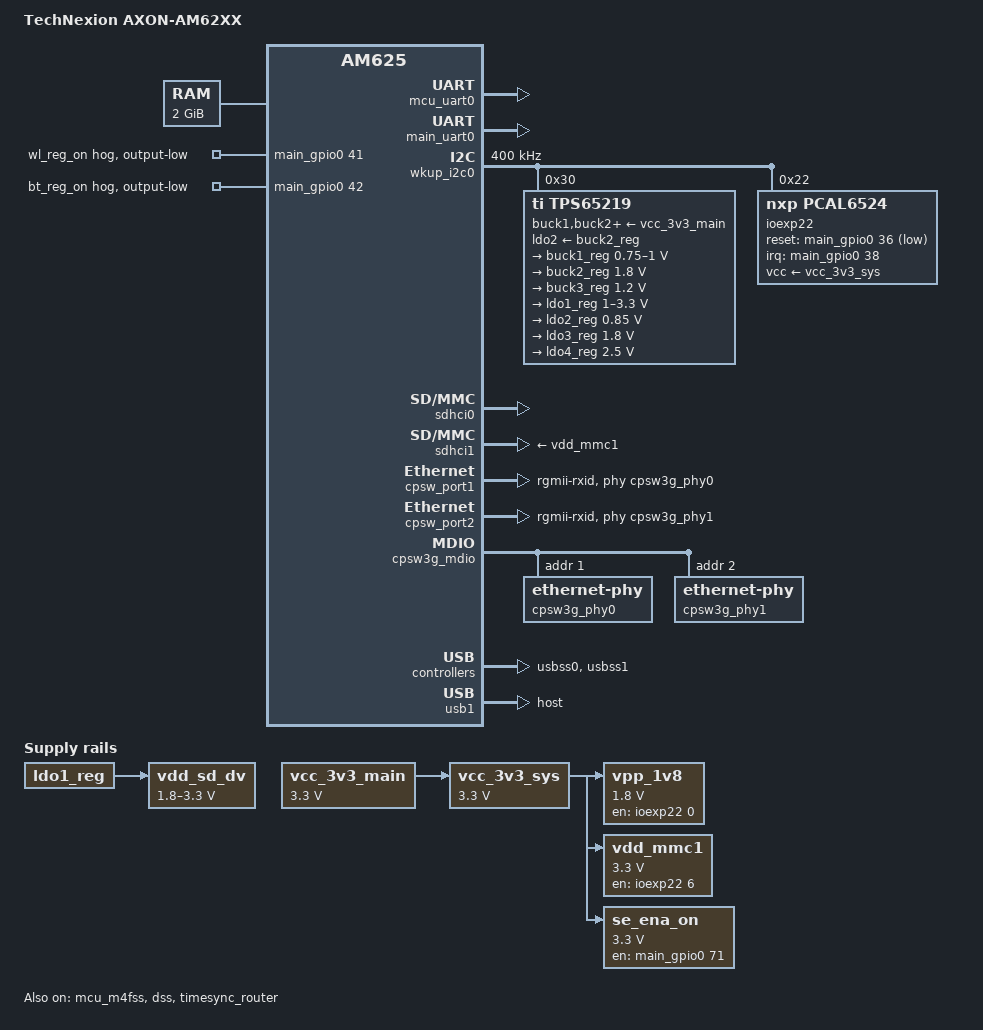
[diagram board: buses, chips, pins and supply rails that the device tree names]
// SPDX-License-Identifier: GPL-2.0
/*
 * Copyright (C) 2024 TechNexion Ltd.
 *
 */

/dts-v1/;

#include <dt-bindings/leds/common.h>
#include <dt-bindings/gpio/gpio.h>
#include <dt-bindings/net/ti-dp83867.h>
#include "k3-am625.dtsi"

/ {
	compatible = "technexion,am625-axon", "ti,am625";
	model = "TechNexion AXON-AM62XX";

	aliases {
		serial2 = &main_uart0;
		mmc0 = &sdhci0;
		mmc1 = &sdhci1;
		mmc2 = &sdhci2;
		spi0 = &ospi0;
		ethernet0 = &cpsw_port1;
		ethernet1 = &cpsw_port2;
		usb0 = &usb0;
		usb1 = &usb1;
	};

	chosen {
		stdout-path = "serial2:115200n8";
	};

	opp-table {
		/* Add 1.4GHz OPP for am625-sk board. Requires VDD_CORE to be at 0.85V */
		opp-1400000000 {
			opp-hz = /bits/ 64 <1400000000>;
			opp-supported-hw = <0x01 0x0004>;
			clock-latency-ns = <6000000>;
		};
	};

	memory@80000000 {
		bootph-pre-ram;
		device_type = "memory";
		/* 2G RAM */
		reg = <0x00000000 0x80000000 0x00000000 0x80000000>;
	};

	reserved-memory {
		#address-cells = <2>;
		#size-cells = <2>;
		ranges;

		ramoops@9c700000 {
			compatible = "ramoops";
			reg = <0x00 0x9c700000 0x00 0x00100000>;
			record-size = <0x8000>;
			console-size = <0x8000>;
			ftrace-size = <0x00>;
			pmsg-size = <0x8000>;
		};

		rtos_ipc_memory_region: ipc-memories@9c800000 {
			compatible = "shared-dma-pool";
			reg = <0x00 0x9c800000 0x00 0x00300000>;
			no-map;
		};

		mcu_m4fss_dma_memory_region: m4f-dma-memory@9cb00000 {
			compatible = "shared-dma-pool";
			reg = <0x00 0x9cb00000 0x00 0x100000>;
			no-map;
		};

		mcu_m4fss_memory_region: m4f-memory@9cc00000 {
			compatible = "shared-dma-pool";
			reg = <0x00 0x9cc00000 0x00 0xe00000>;
			no-map;
		};

		/* global cma region */
		linux,cma {
			compatible = "shared-dma-pool";
			reusable;
			size = <0x00 0x8000000>;
			linux,cma-default;
		};

		secure_tfa_ddr: tfa@9e780000 {
			reg = <0x00 0x9e780000 0x00 0x80000>;
			alignment = <0x1000>;
			no-map;
		};

		secure_ddr: optee@9e800000 {
			reg = <0x00 0x9e800000 0x00 0x01800000>; /* for OP-TEE */
			alignment = <0x1000>;
			no-map;
		};

		wkup_r5fss0_core0_dma_memory_region: r5f-dma-memory@9db00000 {
			compatible = "shared-dma-pool";
			reg = <0x00 0x9db00000 0x00 0xc00000>;
			no-map;
		};
	};

	vcc_3v3_main: regulator-0 {
		/* Output of TPS62095 */
		bootph-all;
		compatible = "regulator-fixed";
		regulator-name = "vcc_3v3_main";
		regulator-min-microvolt = <3300000>;
		regulator-max-microvolt = <3300000>;
		regulator-always-on;
		regulator-boot-on;
	};

	vcc_3v3_sys: regulator-1 {
		/* Output of TPS22965 */
		bootph-all;
		compatible = "regulator-fixed";
		regulator-name = "vcc_3v3_sys";
		regulator-min-microvolt = <3300000>;
		regulator-max-microvolt = <3300000>;
		vin-supply = <&vcc_3v3_main>;
		regulator-always-on;
		regulator-boot-on;
	};

	vpp_1v8: regulator-2 {
		/* Output of TLV75518 */
		bootph-all;
		compatible = "regulator-fixed";
		regulator-name = "vpp_1v8";
		regulator-min-microvolt = <1800000>;
		regulator-max-microvolt = <1800000>;
		vin-supply = <&vcc_3v3_sys>;
		regulator-always-on;
		regulator-boot-on;
		enable-active-high;
		gpio = <&ioexp22 0 GPIO_ACTIVE_HIGH>;
	};

	vdd_mmc1: regulator-3 {
		/* Output of MIC94040 */
		bootph-all;
		compatible = "regulator-fixed";
		regulator-name = "vdd_mmc1";
		regulator-min-microvolt = <3300000>;
		regulator-max-microvolt = <3300000>;
		regulator-always-on;
		regulator-boot-on;
		enable-active-high;
		vin-supply = <&vcc_3v3_sys>;
		gpio = <&ioexp22 6 GPIO_ACTIVE_HIGH>;
	};

	vdd_sd_dv: regulator-4 {
		bootph-all;
		compatible = "regulator-gpio";
		regulator-name = "tps65219-LDO1-SEL-SD";
		pinctrl-names = "default";
		pinctrl-0 = <&vdd_sd_dv_pins_default>;
		regulator-min-microvolt = <1800000>;
		regulator-max-microvolt = <3300000>;
		regulator-boot-on;
		vin-supply = <&ldo1_reg>;
		gpios = <&main_gpio0 31 GPIO_ACTIVE_HIGH>;
		states = <1800000 0x0>,
			  <3300000 0x1>;
	};

	se_ena_on: regulator-5 {
		compatible = "regulator-fixed";
		regulator-name = "se_ena_on";
		pinctrl-names = "default";
		pinctrl-0 = <&se_ena_pins_default>;
		regulator-min-microvolt = <3300000>;
		regulator-max-microvolt = <3300000>;
		vin-supply = <&vcc_3v3_sys>;
		enable-active-high;
		gpio = <&main_gpio0 71 GPIO_ACTIVE_HIGH>;
	};
};

&mcu_pmx0 {
	wkup_i2c0_pins_default: wkup-i2c0-default-pins {
		bootph-all;
		pinctrl-single,pins = <
			AM62X_MCU_IOPAD(0x004c, PIN_INPUT, 0) /* (B9) WKUP_I2C0_SCL */
			AM62X_MCU_IOPAD(0x0050, PIN_INPUT, 0) /* (A9) WKUP_I2C0_SDA */
		>;
	};

	mcu_uart0_pins_default: mcu-uart0-default-pins {
		bootph-all;
		pinctrl-single,pins = <
			AM62X_MCU_IOPAD(0x001c, PIN_INPUT, 0) /* (A6) MCU_UART0_CTSn */
			AM62X_MCU_IOPAD(0x0020, PIN_OUTPUT, 0) /* (B6) MCU_UART0_RTSn */
			AM62X_MCU_IOPAD(0x0014, PIN_INPUT, 0) /* (B5) MCU_UART0_RXD */
			AM62X_MCU_IOPAD(0x0018, PIN_OUTPUT, 0) /* (A5) MCU_UART0_TXD */
		>;
	};
};

&main_pmx0 {
	main_uart0_pins_default: main-uart0-default-pins {
		bootph-all;
		pinctrl-single,pins = <
			AM62X_IOPAD(0x01d0, PIN_INPUT, 0) /* (A15) UART0_CTSn */
			AM62X_IOPAD(0x01d4, PIN_OUTPUT, 0) /* (B15) UART0_RTSn */
			AM62X_IOPAD(0x01c8, PIN_INPUT, 0) /* (D14) UART0_RXD */
			AM62X_IOPAD(0x01cc, PIN_OUTPUT, 0) /* (E14) UART0_TXD */
		>;
	};

	main_i2c0_pins_default: main-i2c0-default-pins {
		bootph-all;
		pinctrl-single,pins = <
			AM62X_IOPAD(0x01e0, PIN_INPUT, 0) /* (B16) I2C0_SCL */
			AM62X_IOPAD(0x01e4, PIN_INPUT, 0) /* (A16) I2C0_SDA */
		>;
	};

	main_i2c2_pins_default: main-i2c2-default-pins {
		bootph-all;
		pinctrl-single,pins = <
			AM62X_IOPAD(0x0b0, PIN_INPUT, 1) /* (K22) GPMC0_CSn2.I2C2_SCL */
			AM62X_IOPAD(0x0b4, PIN_INPUT, 1) /* (K24) GPMC0_CSn3.I2C2_SDA */
		>;
	};

	main_mmc0_pins_default: main-mmc0-default-pins {
		bootph-all;
		pinctrl-single,pins = <
			AM62X_IOPAD(0x220, PIN_INPUT, 0) /* (Y3) MMC0_CMD */
			AM62X_IOPAD(0x218, PIN_INPUT, 0) /* (AB1) MMC0_CLK */
			AM62X_IOPAD(0x214, PIN_INPUT, 0) /* (AA2) MMC0_DAT0 */
			AM62X_IOPAD(0x210, PIN_INPUT, 0) /* (AA1) MMC0_DAT1 */
			AM62X_IOPAD(0x20c, PIN_INPUT, 0) /* (AA3) MMC0_DAT2 */
			AM62X_IOPAD(0x208, PIN_INPUT, 0) /* (Y4) MMC0_DAT3 */
			AM62X_IOPAD(0x204, PIN_INPUT, 0) /* (AB2) MMC0_DAT4 */
			AM62X_IOPAD(0x200, PIN_INPUT, 0) /* (AC1) MMC0_DAT5 */
			AM62X_IOPAD(0x1fc, PIN_INPUT, 0) /* (AD2) MMC0_DAT6 */
			AM62X_IOPAD(0x1f8, PIN_INPUT, 0) /* (AC2) MMC0_DAT7 */
		>;
	};

	main_mmc1_pins_default: main-mmc1-default-pins {
		bootph-all;
		pinctrl-single,pins = <
			AM62X_IOPAD(0x23c, PIN_INPUT, 0) /* (A21) MMC1_CMD */
			AM62X_IOPAD(0x234, PIN_INPUT, 0) /* (B22) MMC1_CLK */
			AM62X_IOPAD(0x230, PIN_INPUT, 0) /* (A22) MMC1_DAT0 */
			AM62X_IOPAD(0x22c, PIN_INPUT, 0) /* (B21) MMC1_DAT1 */
			AM62X_IOPAD(0x228, PIN_INPUT, 0) /* (C21) MMC1_DAT2 */
			AM62X_IOPAD(0x224, PIN_INPUT, 0) /* (D22) MMC1_DAT3 */
			AM62X_IOPAD(0x240, PIN_INPUT, 0) /* (D17) MMC1_SDCD */
		>;
	};

	main_mmc2_pins_default: main-mmc2-default-pins {
		bootph-all;
		pinctrl-single,pins = <
			AM62X_IOPAD(0x120, PIN_INPUT, 0) /* (C24) MMC2_CMD */
			AM62X_IOPAD(0x118, PIN_INPUT, 0) /* (D25) MMC2_CLK */
			AM62X_IOPAD(0x114, PIN_INPUT, 0) /* (B24) MMC2_DAT0 */
			AM62X_IOPAD(0x110, PIN_INPUT, 0) /* (C25) MMC2_DAT1 */
			AM62X_IOPAD(0x10c, PIN_INPUT, 0) /* (E23) MMC2_DAT2 */
			AM62X_IOPAD(0x108, PIN_INPUT, 0) /* (D24) MMC2_DAT3 */
			AM62X_IOPAD(0x11c, PIN_INPUT, 0) /* (#N/A) MMC2_CLKB */
		>;
	};

	main_mdio1_pins_default: main-mdio1-default-pins {
		pinctrl-single,pins = <
			AM62X_IOPAD(0x160, PIN_OUTPUT, 0) /* (AD24/V17) MDIO0_MDC */
			AM62X_IOPAD(0x15c, PIN_INPUT, 0) /* (AB22/U16) MDIO0_MDIO */
		>;
	};

	main_rgmii1_pins_default: main-rgmii1-default-pins {
		bootph-all;
		pinctrl-single,pins = <
			AM62X_IOPAD(0x14c, PIN_INPUT, 0) /* (AB17) RGMII1_RD0 */
			AM62X_IOPAD(0x150, PIN_INPUT, 0) /* (AC17) RGMII1_RD1 */
			AM62X_IOPAD(0x154, PIN_INPUT, 0) /* (AB16) RGMII1_RD2 */
			AM62X_IOPAD(0x158, PIN_INPUT, 0) /* (AA15) RGMII1_RD3 */
			AM62X_IOPAD(0x148, PIN_INPUT, 0) /* (AD17) RGMII1_RXC */
			AM62X_IOPAD(0x144, PIN_INPUT, 0) /* (AE17) RGMII1_RX_CTL */
			AM62X_IOPAD(0x134, PIN_OUTPUT, 0) /* (AE20) RGMII1_TD0 */
			AM62X_IOPAD(0x138, PIN_OUTPUT, 0) /* (AD20) RGMII1_TD1 */
			AM62X_IOPAD(0x13c, PIN_OUTPUT, 0) /* (AE18) RGMII1_TD2 */
			AM62X_IOPAD(0x140, PIN_OUTPUT, 0) /* (AD18) RGMII1_TD3 */
			AM62X_IOPAD(0x130, PIN_OUTPUT, 0) /* (AE19) RGMII1_TXC */
			AM62X_IOPAD(0x12c, PIN_OUTPUT, 0) /* (AD19) RGMII1_TX_CTL */
		>;
	};

	main_rgmii2_pins_default: main-rgmii2-default-pins {
		bootph-all;
		pinctrl-single,pins = <
			AM62X_IOPAD(0x184, PIN_INPUT, 0) /* (AE23) RGMII2_RD0 */
			AM62X_IOPAD(0x188, PIN_INPUT, 0) /* (AB20) RGMII2_RD1 */
			AM62X_IOPAD(0x18c, PIN_INPUT, 0) /* (AC21) RGMII2_RD2 */
			AM62X_IOPAD(0x190, PIN_INPUT, 0) /* (AE22) RGMII2_RD3 */
			AM62X_IOPAD(0x180, PIN_INPUT, 0) /* (AD23) RGMII2_RXC */
			AM62X_IOPAD(0x17c, PIN_INPUT, 0) /* (AD22) RGMII2_RX_CTL */
			AM62X_IOPAD(0x16c, PIN_OUTPUT, 0) /* (Y18) RGMII2_TD0 */
			AM62X_IOPAD(0x170, PIN_OUTPUT, 0) /* (AA18) RGMII2_TD1 */
			AM62X_IOPAD(0x174, PIN_OUTPUT, 0) /* (AD21) RGMII2_TD2 */
			AM62X_IOPAD(0x178, PIN_OUTPUT, 0) /* (AC20) RGMII2_TD3 */
			AM62X_IOPAD(0x168, PIN_OUTPUT, 0) /* (AE21) RGMII2_TXC */
			AM62X_IOPAD(0x164, PIN_OUTPUT, 0) /* (AA19) RGMII2_TX_CTL */
		>;
	};

	main_dss0_pins_default: main-dss0-default-pins {
		bootph-all;
		pinctrl-single,pins = <
			AM62X_IOPAD(0x0100, PIN_OUTPUT, 0) /* (AC25) VOUT0_VSYNC */
			AM62X_IOPAD(0x00f8, PIN_OUTPUT, 0) /* (AB24) VOUT0_HSYNC */
			AM62X_IOPAD(0x0104, PIN_OUTPUT, 0) /* (AC24) VOUT0_PCLK */
			AM62X_IOPAD(0x00fc, PIN_OUTPUT, 0) /* (Y20) VOUT0_DE */
			AM62X_IOPAD(0x00b8, PIN_OUTPUT, 0) /* (U22) VOUT0_DATA0 */
			AM62X_IOPAD(0x00bc, PIN_OUTPUT, 0) /* (V24) VOUT0_DATA1 */
			AM62X_IOPAD(0x00c0, PIN_OUTPUT, 0) /* (W25) VOUT0_DATA2 */
			AM62X_IOPAD(0x00c4, PIN_OUTPUT, 0) /* (W24) VOUT0_DATA3 */
			AM62X_IOPAD(0x00c8, PIN_OUTPUT, 0) /* (Y25) VOUT0_DATA4 */
			AM62X_IOPAD(0x00cc, PIN_OUTPUT, 0) /* (Y24) VOUT0_DATA5 */
			AM62X_IOPAD(0x00d0, PIN_OUTPUT, 0) /* (Y23) VOUT0_DATA6 */
			AM62X_IOPAD(0x00d4, PIN_OUTPUT, 0) /* (AA25) VOUT0_DATA7 */
			AM62X_IOPAD(0x00d8, PIN_OUTPUT, 0) /* (V21) VOUT0_DATA8 */
			AM62X_IOPAD(0x00dc, PIN_OUTPUT, 0) /* (W21) VOUT0_DATA9 */
			AM62X_IOPAD(0x00e0, PIN_OUTPUT, 0) /* (V20) VOUT0_DATA10 */
			AM62X_IOPAD(0x00e4, PIN_OUTPUT, 0) /* (AA23) VOUT0_DATA11 */
			AM62X_IOPAD(0x00e8, PIN_OUTPUT, 0) /* (AB25) VOUT0_DATA12 */
			AM62X_IOPAD(0x00ec, PIN_OUTPUT, 0) /* (AA24) VOUT0_DATA13 */
			AM62X_IOPAD(0x00f0, PIN_OUTPUT, 0) /* (Y22) VOUT0_DATA14 */
			AM62X_IOPAD(0x00f4, PIN_OUTPUT, 0) /* (AA21) VOUT0_DATA15 */
			AM62X_IOPAD(0x005c, PIN_OUTPUT, 1) /* (R24) GPMC0_AD8.VOUT0_DATA16 */
			AM62X_IOPAD(0x0060, PIN_OUTPUT, 1) /* (R25) GPMC0_AD9.VOUT0_DATA17 */
			AM62X_IOPAD(0x0064, PIN_OUTPUT, 1) /* (T25) GPMC0_AD10.VOUT0_DATA18 */
			AM62X_IOPAD(0x0068, PIN_OUTPUT, 1) /* (R21) GPMC0_AD11.VOUT0_DATA19 */
			AM62X_IOPAD(0x006c, PIN_OUTPUT, 1) /* (T22) GPMC0_AD12.VOUT0_DATA20 */
			AM62X_IOPAD(0x0070, PIN_OUTPUT, 1) /* (T24) GPMC0_AD13.VOUT0_DATA21 */
			AM62X_IOPAD(0x0074, PIN_OUTPUT, 1) /* (U25) GPMC0_AD14.VOUT0_DATA22 */
			AM62X_IOPAD(0x0078, PIN_OUTPUT, 1) /* (U24) GPMC0_AD15.VOUT0_DATA23 */
		>;
	};

	se_ena_pins_default: se-ena-default-pins {
		bootph-all;
		pinctrl-single,pins = <
			AM62X_IOPAD(0x124, PIN_OUTPUT, 7) /* (A23) MMC2_SDCD.GPIO0_71 */
		>;
	};

	vdd_sd_dv_pins_default: vdd-sd-dv-default-pins {
		bootph-all;
		pinctrl-single,pins = <
			AM62X_IOPAD(0x07c, PIN_OUTPUT, 7) /* (P25) GPMC0_CLK.GPIO0_31 */
		>;
	};

	ioexp22_ctrl_pins_default: ioexp22-ctrl-default-pins {
		bootph-all;
		pinctrl-single,pins = <
			AM62X_IOPAD(0x0094, PIN_OUTPUT, 7) /* (N20) GPMC0_BE1n.GPIO0_36 */
			AM62X_IOPAD(0x009c, PIN_INPUT, 7) /* (V25) GPMC0_WAIT1.GPIO0_38 */
		>;
	};

	pmic_irq_pins_default: pmic-irq-default-pins {
		bootph-all;
		pinctrl-single,pins = <
			AM62X_IOPAD(0x01f4, PIN_INPUT, 7) /* (D16) EXTINTn.GPIO1_31 */
		>;
	};

	wlan_en_pins_default: wlan-en-default-pins {
		bootph-all;
		pinctrl-single,pins = <
			AM62X_IOPAD(0x00a8, PIN_OUTPUT_PULLUP, 7) /* (M21) GPMC0_CSn0.GPIO0_41 */
		>;
	};

	bt_en_pins_default: bt-en-default-pins {
		bootph-all;
		pinctrl-single,pins = <
			AM62X_IOPAD(0x00ac, PIN_OUTPUT_PULLUP, 7) /* (L21) GPMC0_CSn1.GPIO0_42 */
		>;
	};
};

&main_gpio0 {
	bootph-all;
	pinctrl-names = "default";
	pinctrl-0 = <&wlan_en_pins_default
			&bt_en_pins_default>;

	wl_reg_on {
		gpio-hog;
		output-low;
		gpios = <41 GPIO_ACTIVE_HIGH>;
	};

	bt_reg_on {
		gpio-hog;
		output-low;
		gpios = <42 GPIO_ACTIVE_HIGH>;
	};
};

&main_gpio1 {
	bootph-all;
};

/* UART_B on AXON */
&mcu_uart0 {
	bootph-all;
	status = "okay";
	pinctrl-names = "default";
	pinctrl-0 = <&mcu_uart0_pins_default>;
};

 /* UART_A on AXON, console */
&main_uart0 {
	bootph-all;
	status = "okay";
	pinctrl-names = "default";
	pinctrl-0 = <&main_uart0_pins_default>;
	interrupts-extended = <&gic500 GIC_SPI 178 IRQ_TYPE_LEVEL_HIGH>,
			       <&main_pmx0 0x1c8>; /* (D14) UART0_RXD PADCONFIG114 */
	interrupt-names = "irq", "wakeup";
};

/* I2C on SOM */
&wkup_i2c0 {
	bootph-all;
	status = "okay";
	pinctrl-names = "default";
	pinctrl-0 = <&wkup_i2c0_pins_default>;
	clock-frequency = <400000>;

	tps65219: pmic@30 {
		compatible = "ti,tps65219";
		reg = <0x30>;
		system-power-controller;
		pinctrl-names = "default";
		pinctrl-0 = <&pmic_irq_pins_default>;
		interrupt-parent = <&gic500>;
		interrupts = <GIC_SPI 224 IRQ_TYPE_LEVEL_HIGH>;
		ti,power-button;

		buck1-supply = <&vcc_3v3_main>;
		buck2-supply = <&vcc_3v3_main>;
		buck3-supply = <&vcc_3v3_main>;
		ldo1-supply = <&vcc_3v3_main>;
		ldo2-supply = <&buck2_reg>;
		ldo3-supply = <&vcc_3v3_main>;
		ldo4-supply = <&vcc_3v3_main>;

		regulators {
			buck1_reg: buck1 {
				regulator-name = "VDD_CORE";
				regulator-min-microvolt = <750000>;
				regulator-max-microvolt = <1000000>;
				regulator-boot-on;
				regulator-always-on;
			};

			buck2_reg: buck2 {
				regulator-name = "VCC1V8";
				regulator-min-microvolt = <1800000>;
				regulator-max-microvolt = <1800000>;
				regulator-boot-on;
				regulator-always-on;
			};

			buck3_reg: buck3 {
				regulator-name = "VDD_DDR4";
				regulator-min-microvolt = <1200000>;
				regulator-max-microvolt = <1200000>;
				regulator-boot-on;
				regulator-always-on;
			};

			ldo1_reg: ldo1 {
				regulator-name = "VDDSHV_SD_IO_PMIC";
				regulator-min-microvolt = <1000000>;
				regulator-max-microvolt = <3300000>;
				regulator-allow-bypass;
				regulator-always-on;
			};

			ldo2_reg: ldo2 {
				regulator-name = "VDDAR_CORE";
				regulator-min-microvolt = <850000>;
				regulator-max-microvolt = <850000>;
				regulator-boot-on;
				regulator-always-on;
			};

			ldo3_reg: ldo3 {
				regulator-name = "VDDA_1V8";
				regulator-min-microvolt = <1800000>;
				regulator-max-microvolt = <1800000>;
				regulator-boot-on;
				regulator-always-on;
			};

			ldo4_reg: ldo4 {
				regulator-name = "VDD_PHY_2V5";
				regulator-min-microvolt = <2500000>;
				regulator-max-microvolt = <2500000>;
				regulator-boot-on;
				regulator-always-on;
			};
		};
	};

	ioexp22: pcal6524@22 {
		compatible = "nxp,pcal6524";
		reg = <0x22>;
		vcc-supply = <&vcc_3v3_sys>;
		pinctrl-names = "default";
		pinctrl-0 = <&ioexp22_ctrl_pins_default>;
		reset-gpios = <&main_gpio0 36 GPIO_ACTIVE_LOW>;
		interrupt-parent = <&main_gpio0>;
		interrupts = <38 IRQ_TYPE_EDGE_FALLING>;
		gpio-controller;
		#gpio-cells = <2>;
		interrupt-controller;
		#interrupt-cells = <2>;
		gpio-line-names = "VPP_LDO_EN", "GPIO_ENET1_RST", "GPIO_ENET2_RST", "SE_RST", "DISP_BKLEN", "GPIO_X2_P22", "MMC1_SD_EN", "GPIO_eMMC_RSTn",
				   "", "", "", "ENET2_INTn", "ENET1_INTn", "EEPROM_SOM-wp", "GPIO_X3_P69", "GPIO_X3_P71",
				   "GPIO_X1_P66", "GPIO_X1_P68", "GPIO_X1_P70", "GPIO_X1_P72", "GPIO_X1_P74", "GPIO_X1_P76", "SDIOREON", "GPIO_X1_P80";
	};
};

/* eMMC on SOM */
&sdhci0 {
	bootph-all;
	status = "okay";
	pinctrl-names = "default";
	pinctrl-0 = <&main_mmc0_pins_default>;
	disable-wp;
};

/* SD card on baseboard */
&sdhci1 {
	bootph-all;
	status = "okay";
	pinctrl-names = "default";
	pinctrl-0 = <&main_mmc1_pins_default>;
	disable-wp;
	vmmc-supply = <&vdd_mmc1>;
	vqmmc-supply = <&vdd_sd_dv>;
};

&cpsw3g {
	bootph-all;
	pinctrl-names = "default";
	pinctrl-0 = <&main_rgmii1_pins_default
			  &main_rgmii2_pins_default>;

	cpts@3d000 {
		/* MAP HW3_TS_PUSH to GENF1 */
		ti,pps = <2 1>;
	};
};

&cpsw_port1 {
	bootph-all;
	phy-mode = "rgmii-rxid";
	phy-handle = <&cpsw3g_phy0>;
};

&cpsw_port2 {
	phy-mode = "rgmii-rxid";
	phy-handle = <&cpsw3g_phy1>;
};

&cpsw3g_mdio {
	bootph-all;
	status = "okay";
	pinctrl-names = "default";
	pinctrl-0 = <&main_mdio1_pins_default>;

	cpsw3g_phy0: ethernet-phy@1 {
		bootph-all;
		reg = <1>;
		ti,rx-internal-delay = <DP83867_RGMIIDCTL_2_00_NS>;
		ti,fifo-depth = <DP83867_PHYCR_FIFO_DEPTH_4_B_NIB>;
		ti,min-output-impedance;
	};

	cpsw3g_phy1: ethernet-phy@2 {
		reg = <2>;
		ti,rx-internal-delay = <DP83867_RGMIIDCTL_2_00_NS>;
		ti,fifo-depth = <DP83867_PHYCR_FIFO_DEPTH_4_B_NIB>;
		ti,min-output-impedance;
	};
};

&mailbox0_cluster0 {
	mbox_m4_0: mbox-m4-0 {
		ti,mbox-rx = <0 0 0>;
		ti,mbox-tx = <1 0 0>;
	};
};

&mcu_m4fss {
	mboxes = <&mailbox0_cluster0 &mbox_m4_0>;
	memory-region = <&mcu_m4fss_dma_memory_region>,
			<&mcu_m4fss_memory_region>;
	status = "okay";
};

&usbss0 {
	bootph-all;
	status = "okay";
	ti,vbus-divider;
};

&usbss1 {
	status = "okay";
	ti,vbus-divider;
};

&usb0 {
	bootph-all;
	#address-cells = <1>;
	#size-cells = <0>;
	usb-role-switch;
};

&usb1 {
	dr_mode = "host";
};

&fss {
	bootph-all;
};

&dss_oldi_io_ctrl {
	bootph-all;
};

&dss {
	bootph-all;
	status = "okay";
	pinctrl-names = "default";
	pinctrl-0 = <&main_dss0_pins_default>;
};

#define K3_TS_OFFSET(pa, val)	(0x4+(pa)*4) (0x10000 | val)

&timesync_router {
	status = "okay";
	pinctrl-names = "default";
	pinctrl-0 = <&cpsw_cpts>;

	 /* Use Time Sync Router to map GENF1 input to HW3_TS_PUSH output */
	cpsw_cpts: cpsw-cpts {
		pinctrl-single,pins = <
			/* pps [cpsw cpts genf1] in17 -> out12 [cpsw cpts hw3_push] */
			K3_TS_OFFSET(12, 17)
		>;
	};
};
